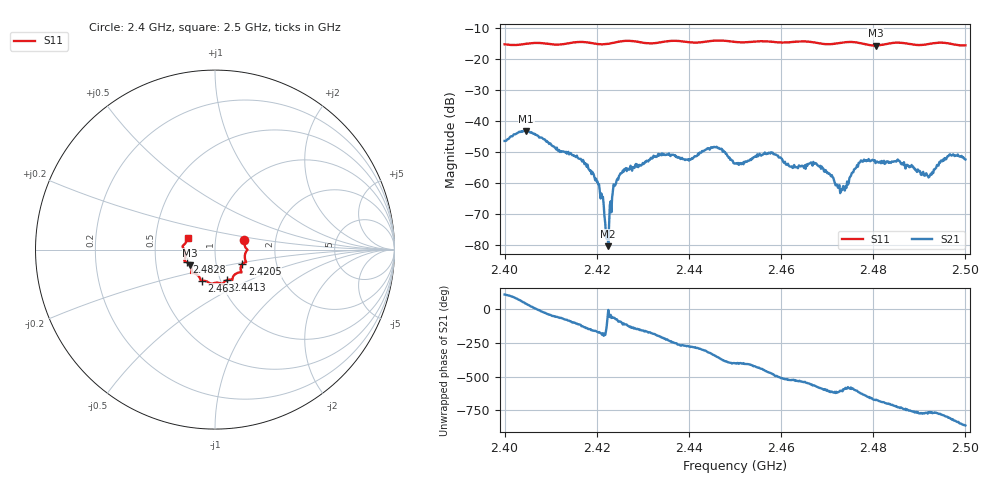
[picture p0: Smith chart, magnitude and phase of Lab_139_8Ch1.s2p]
# Hz S RI R 50
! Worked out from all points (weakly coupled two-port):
!   601 points, 2.4 GHz to 2.5 GHz, reference 50 ohm
!   highest |S21| = -43.25 dB at 2.4047 GHz (marker M1); lowest = -80.5 dB at 2.4225 GHz (marker M2)
!   lowest |S11| = -15.7 dB at 2.4805 GHz (marker M3), VSWR 1.39, Z = 37.3 - j6.69 ohm
!   |S11| at or under -10 dB: start of sweep to end of sweep
!   S12 and S22 are empty: the file has one direction only
!   S11 on the Smith chart (normalised r, x): 2.4 GHz: 1.38, +0.15; 2.4205 GHz: 1.34, -0.22; 2.4413 GHz: 1.08, -0.38; 2.463 GHz: 0.82, -0.29; 2.4828 GHz: 0.72, -0.10; 2.5 GHz: 0.73, +0.10
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2.4e9  0.1631 0.0524  -0.00151 0.00448  0 0  0 0
2.404667e9  0.1745 0.00561  0.00525 0.00445  0 0  0 0
2.416667e9  0.1735 -0.0698  -0.00137 -0.0019  0 0  0 0
2.4205e9  0.1518 -0.0809  -0.000924 -0.000177  0 0  0 0
2.422e9  0.1443 -0.0944  -0.000138 -4.48e-05  0 0  0 0
2.4225e9  0.1431 -0.0996  9.44e-05 -9.04e-06  0 0  0 0
2.423833e9  0.1437 -0.1131  0.000388 -0.000801  0 0  0 0
2.425333e9  0.1469 -0.1233  -0.000174 -0.00142  0 0  0 0
2.433333e9  0.1004 -0.1516  -0.00278 0.000893  0 0  0 0
2.441333e9  0.0676 -0.1695  0.000536 0.00264  0 0  0 0
2.445833e9  0.0419 -0.1924  0.00364 0.000828  0 0  0 0
2.45e9  0.0246 -0.1856  0.00153 -0.00134  0 0  0 0
2.457833e9  -0.0297 -0.1864  -0.00129 -0.00282  0 0  0 0
2.463e9  -0.072 -0.1736  -0.00172 -0.000456  0 0  0 0
2.466667e9  -0.0816 -0.1674  -0.00193 0.000619  0 0  0 0
2.473333e9  -0.1283 -0.1301  -0.0003 0.00076  0 0  0 0
2.477e9  -0.1314 -0.1231  -0.00045 0.00205  0 0  0 0
2.4805e9  -0.1384 -0.0872  0.00145 0.00149  0 0  0 0
2.482833e9  -0.1585 -0.07  0.00203 0.000829  0 0  0 0
2.483333e9  -0.1625 -0.0682  0.00196 0.000726  0 0  0 0
2.492167e9  -0.1738 0.00294  0.000879 -0.00089  0 0  0 0
2.5e9  -0.152 0.064  -0.00188 -0.00146  0 0  0 0
